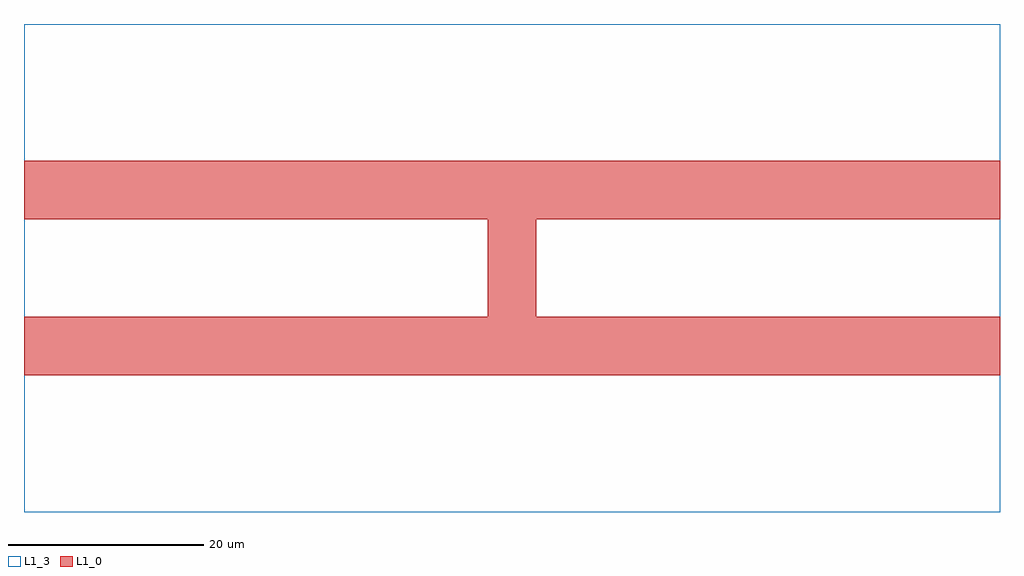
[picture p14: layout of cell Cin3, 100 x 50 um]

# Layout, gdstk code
import gdstk
lib = gdstk.Library(unit=1e-6, precision=1e-09)
def R(c, l, rs):  # rectangles x0, y0, x1, y1
    for r in rs: c.add(gdstk.rectangle(r[:2], r[2:], *l))
L1_0 = (1, 0)
L1_3 = (1, 3)

cin3 = lib.new_cell('Cin3')
R(cin3, L1_0, [(-50,-11,50,-5), (-50,-11,50,-5), (-2.5,-5,2.5,5), (-50,5,50,11), (-50,5,50,11)])
R(cin3, L1_3, [(-50,-25,50,25)])

lib.write_gds('Cin3.gds')
